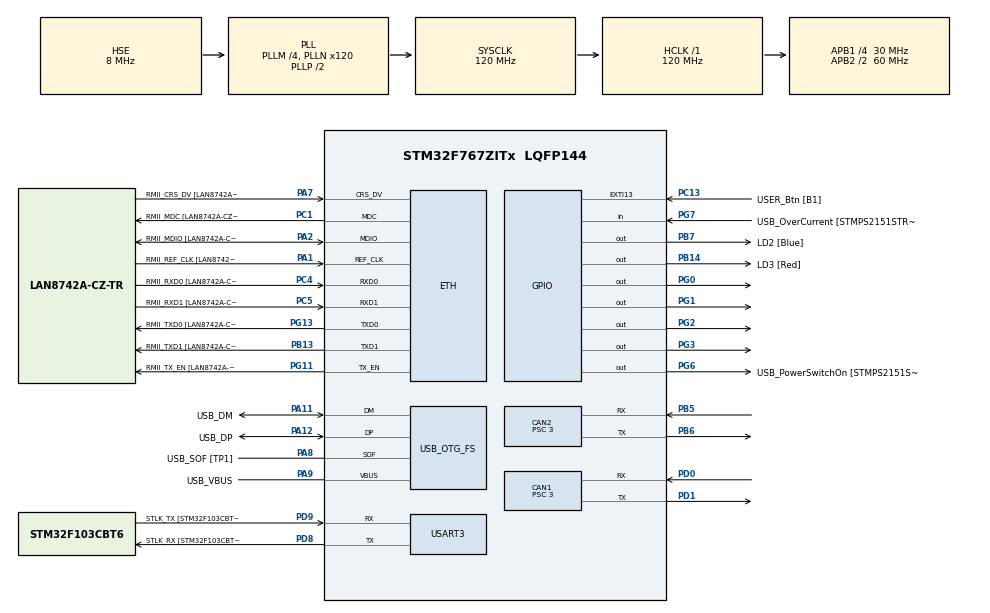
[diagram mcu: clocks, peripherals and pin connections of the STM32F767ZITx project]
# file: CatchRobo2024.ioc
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CAN1.BS1=CAN_BS1_7TQ
CAN1.BS2=CAN_BS2_2TQ
CAN1.CalculateBaudRate=1000000
CAN1.CalculateTimeBit=1000
CAN1.CalculateTimeQuantum=100.0
CAN1.Prescaler=3
CAN2.BS1=CAN_BS1_7TQ
CAN2.BS2=CAN_BS2_2TQ
CAN2.CalculateBaudRate=1000000
CAN2.CalculateTimeBit=1000
CAN2.CalculateTimeQuantum=100.0
CAN2.Prescaler=3
ETH.MediaInterface=HAL_ETH_RMII_MODE
FREERTOS.Tasks01=ETH,0,256,ReceiveETH,Default,NULL,Dynamic,NULL,NULL
FREERTOS.configMINIMAL_STACK_SIZE=256
FREERTOS.configUSE_NEWLIB_REENTRANT=1
LWIP.BSP.number=1
LWIP.CMSIS_VERSION-Enabled=1
LWIP.GATEWAY_ADDRESS=255.255.255.000
LWIP.IP_ADDRESS=192.168.000.111
LWIP.LWIP_DHCP=0
LWIP.NETMASK_ADDRESS=255.255.255.000
LWIP.Version=v2.1.2_Cube
LWIP0.BSP.STBoard=false
LWIP0.BSP.api=BSP_COMPONENT_DRIVER
LWIP0.BSP.component=LAN8742
LWIP0.BSP.instance=LAN8742
LWIP0.BSP.name=Driver_PHY
LWIP0.BSP.semaphore=S_LAN8742
LWIP0.BSP.solution=LAN8742
Mcu.Family=STM32F7
Mcu.Name=STM32F767ZITx
Mcu.Package=LQFP144
NVIC.CAN1_RX0_IRQn=true\:5\:0\:false\:false\:true\:true\:true\:true\:true
NVIC.CAN2_RX0_IRQn=true\:5\:0\:false\:false\:true\:true\:true\:true\:true
NVIC.ETH_IRQn=true\:5\:0\:false\:false\:true\:true\:false\:true\:true
NVIC.PriorityGroup=NVIC_PRIORITYGROUP_4
NVIC.TIM8_TRG_COM_TIM14_IRQn=true\:15\:0\:false\:false\:true\:false\:false\:true\:true
NVIC.TimeBase=TIM8_TRG_COM_TIM14_IRQn
NVIC.TimeBaseIP=TIM14
PA1.GPIO_Label=RMII_REF_CLK [LAN8742A-CZ-TR_REFCLK0]
PA1.Mode=RMII
PA1.Signal=ETH_REF_CLK
PA10.GPIO_Label=USB_ID
PA10.Signal=USB_OTG_FS_ID
PA11.GPIO_Label=USB_DM
PA11.Mode=Device_Only
PA11.Signal=USB_OTG_FS_DM
PA12.GPIO_Label=USB_DP
PA12.Mode=Device_Only
PA12.Signal=USB_OTG_FS_DP
PA13.GPIO_Label=TMS
PA13.Mode=Serial_Wire
PA13.Signal=SYS_JTMS-SWDIO
PA14.GPIO_Label=TCK
PA14.Mode=Serial_Wire
PA14.Signal=SYS_JTCK-SWCLK
PA2.GPIO_Label=RMII_MDIO [LAN8742A-CZ-TR_MDIO]
PA2.Mode=RMII
PA2.Signal=ETH_MDIO
PA7.GPIO_Label=RMII_CRS_DV [LAN8742A-CZ-TR_CRS_DV]
PA7.Mode=RMII
PA7.Signal=ETH_CRS_DV
PA8.GPIO_Label=USB_SOF [TP1]
PA8.Mode=Activate_SOF_FS
PA8.Signal=USB_OTG_FS_SOF
PA9.GPIO_Label=USB_VBUS
PA9.Mode=Activate_VBUS
PA9.Signal=USB_OTG_FS_VBUS
PB0.Signal=ETH_RXD2
PB13.GPIO_Label=RMII_TXD1 [LAN8742A-CZ-TR_TXD1]
PB13.Mode=RMII
PB13.Signal=ETH_TXD1
PB14.GPIO_Label=LD3 [Red]
PB14.Signal=GPIO_Output
PB3.GPIO_Label=SWO
PB3.Signal=SYS_JTDO-SWO
PB5.Mode=CAN_Activate
PB5.Signal=CAN2_RX
PB6.Mode=CAN_Activate
PB6.Signal=CAN2_TX
PB7.GPIO_Label=LD2 [Blue]
PB7.Signal=GPIO_Output
PC1.GPIO_Label=RMII_MDC [LAN8742A-CZ-TR_MDC]
PC1.Mode=RMII
PC1.Signal=ETH_MDC
PC13.GPIO_Label=USER_Btn [B1]
PC13.Signal=GPXTI13
PC14/OSC32_IN.Mode=LSE-External-Oscillator
PC14/OSC32_IN.Signal=RCC_OSC32_IN
PC15/OSC32_OUT.Mode=LSE-External-Oscillator
PC15/OSC32_OUT.Signal=RCC_OSC32_OUT
PC4.GPIO_Label=RMII_RXD0 [LAN8742A-CZ-TR_RXD0]
PC4.Mode=RMII
PC4.Signal=ETH_RXD0
PC5.GPIO_Label=RMII_RXD1 [LAN8742A-CZ-TR_RXD1]
PC5.Mode=RMII
PC5.Signal=ETH_RXD1
PD0.Mode=CAN_Activate
PD0.Signal=CAN1_RX
PD1.Mode=CAN_Activate
PD1.Signal=CAN1_TX
PD8.GPIO_Label=STLK_RX [STM32F103CBT6_PA3]
PD8.Mode=Asynchronous
PD8.Signal=USART3_TX
PD9.GPIO_Label=STLK_TX [STM32F103CBT6_PA2]
PD9.Mode=Asynchronous
PD9.Signal=USART3_RX
PG0.Signal=GPIO_Output
PG1.Signal=GPIO_Output
PG11.GPIO_Label=RMII_TX_EN [LAN8742A-CZ-TR_TXEN]
PG11.Mode=RMII
PG11.Signal=ETH_TX_EN
PG13.GPIO_Label=RMII_TXD0 [LAN8742A-CZ-TR_TXD0]
PG13.Mode=RMII
PG13.Signal=ETH_TXD0
PG2.Signal=GPIO_Output
PG3.Signal=GPIO_Output
PG6.GPIO_Label=USB_PowerSwitchOn [STMPS2151STR_EN]
PG6.Signal=GPIO_Output
PG7.GPIO_Label=USB_OverCurrent [STMPS2151STR_FAULT]
PG7.Signal=GPIO_Input
PH0/OSC_IN.GPIO_Label=MCO [STM32F103CBT6_PA8]
PH0/OSC_IN.Mode=HSE-External-Clock-Source
PH0/OSC_IN.Signal=RCC_OSC_IN
PH1/OSC_OUT.Mode=HSE-External-Clock-Source
PH1/OSC_OUT.Signal=RCC_OSC_OUT
ProjectManager.HeapSize=0x200
ProjectManager.StackSize=0x400
ProjectManager.TargetToolchain=CMake
RCC.48MHZClocksFreq_Value=24000000
RCC.AHBFreq_Value=120000000
RCC.APB1CLKDivider=RCC_HCLK_DIV4
RCC.APB1Freq_Value=30000000
RCC.APB1TimFreq_Value=60000000
RCC.APB2CLKDivider=RCC_HCLK_DIV2
RCC.APB2Freq_Value=60000000
RCC.APB2TimFreq_Value=120000000
RCC.CortexFreq_Value=120000000
RCC.HCLKFreq_Value=120000000
RCC.HSE_VALUE=8000000
RCC.HSI_VALUE=16000000
RCC.PLLM=4
RCC.PLLMUL=RCC_PLL_MUL9
RCC.PLLN=120
RCC.PLLQ=5
RCC.PRESCALERUSB=RCC_USBCLKSOURCE_PLL_DIV1_5
RCC.SYSCLKFreq_VALUE=120000000
RCC.SYSCLKSource=RCC_SYSCLKSOURCE_PLLCLK
RCC.SYSCLKSourceVirtual=RCC_SYSCLKSOURCE_PLLCLK
RCC.USBFreq_Value=48000000
RCC.VCOOutputFreq_Value=240000000
USART3.VirtualMode-Asynchronous=VM_ASYNC
USB_OTG_FS.VirtualMode=Device_Only
VP_FREERTOS_VS_CMSIS_V1.Mode=CMSIS_V1
VP_LWIP_VS_Enabled.Mode=Enabled
VP_SYS_VS_tim14.Mode=TIM14
board=NUCLEO-F767ZI

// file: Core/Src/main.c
/* USER CODE BEGIN Header */
/**
  ******************************************************************************
  * @file           : main.c
  * @brief          : Main program body
  ******************************************************************************
  * @attention
  *
  * Copyright (c) 2024 STMicroelectronics.
  * All rights reserved.
  *
  * This software is licensed under terms that can be found in the LICENSE file
  * in the root directory of this software component.
  * If no LICENSE file comes with this software, it is provided AS-IS.
  *
  ******************************************************************************
  */
/* USER CODE END Header */
#include "main.h"
#include "cmsis_os.h"
#include "lwip.h"

/* USER CODE BEGIN Includes */
#include "sockets.h"
/* USER CODE END Includes */

/* USER CODE BEGIN PD */

struct ETH_RxDataType {
    int16_t x_speed;
    int16_t y_speed;
    int16_t z_speed;
    uint8_t arm_state;
};

/* USER CODE END PD */

CAN_HandleTypeDef hcan1;
CAN_HandleTypeDef hcan2;

UART_HandleTypeDef huart3;

PCD_HandleTypeDef hpcd_USB_OTG_FS;

osThreadId ETHHandle;

void SystemClock_Config(void);
static void MX_GPIO_Init(void);
static void MX_USART3_UART_Init(void);
static void MX_USB_OTG_FS_PCD_Init(void);
static void MX_CAN1_Init(void);
static void MX_CAN2_Init(void);
void ReceiveETH(void const * argument);

/* USER CODE BEGIN 0 */

/* Ethernet variables */
#define F7_ADDR "192.168.000.111"
#define PC_ADDR "192.168.000.010"
#define F7_PORT 11111
#define PC_PORT 11111
struct ETH_RxDataType rx_buf = {0, 0, 0, 0};
int socket;
struct sockaddr_in rxAddr;

/* CAN1 variables */
CAN_TxHeaderTypeDef TxHeader1;
uint32_t TxMailbox1;
uint8_t CAN1_TxData[8];

CAN_FilterTypeDef filter;
uint8_t RxData[8];

int16_t rx_arg, rx_speed, rx_current;
int count = 0;

/* CAN2 variables */

CAN_TxHeaderTypeDef TxHeader2;
uint32_t TxMailbox2;
uint8_t CAN2_TxData[3];

int free_level = 0;

/* USER CODE END 0 */

int main(void)
{

  /* MCU Configuration--------------------------------------------------------*/

  /* Reset of all peripherals, Initializes the Flash interface and the Systick. */
  HAL_Init();

  /* Configure the system clock */
  SystemClock_Config();

  /* Initialize all configured peripherals */
  MX_GPIO_Init();
  MX_USART3_UART_Init();
  MX_USB_OTG_FS_PCD_Init();
  MX_CAN1_Init();
  MX_CAN2_Init();
  /* USER CODE BEGIN 2 */

  /* CAN1_Tx Init */
  free_level = HAL_CAN_Start(&hcan2);
  free_level = hcan2.ErrorCode;
  HAL_CAN_Start(&hcan1);

  TxHeader1.StdId = 0x200;
  TxHeader1.RTR = CAN_RTR_DATA;
  TxHeader1.IDE = CAN_ID_STD;
  TxHeader1.DLC = 8;
  TxHeader1.TransmitGlobalTime = DISABLE;

  CAN1_TxData[0] = 0;
  CAN1_TxData[1] = 0;
  CAN1_TxData[2] = 0;
  CAN1_TxData[3] = 0;
  CAN1_TxData[4] = 0;
  CAN1_TxData[5] = 0;
  CAN1_TxData[6] = 0;
  CAN1_TxData[7] = 0;

  /* CAN2_Tx Init */

  TxHeader2.StdId = 0x100;
  TxHeader2.RTR = CAN_RTR_DATA;
  TxHeader2.IDE = CAN_ID_STD;
  TxHeader2.DLC = 3;
  TxHeader2.TransmitGlobalTime = DISABLE;

  CAN2_TxData[0] = 0;
  CAN2_TxData[1] = 0;
  CAN2_TxData[2] = 0;

  /* CAN1_Rx Init */

  // filter.FilterIdHigh = 0;
  // filter.FilterIdLow = 0;
  // filter.FilterMaskIdHigh = 0;
  // filter.FilterMaskIdLow = 0;
  // filter.FilterScale = CAN_FILTERSCALE_32BIT;
  // filter.FilterFIFOAssignment = CAN_FILTER_FIFO0;
  // filter.FilterBank = 0;
  // filter.FilterMode = CAN_FILTERMODE_IDMASK;
  // filter.SlaveStartFilterBank = 14;
  // filter.FilterActivation = ENABLE;

  // HAL_CAN_ConfigFilter(&hcan1, &filter);
  // HAL_CAN_ActivateNotification(&hcan1, CAN_IT_RX_FIFO0_MSG_PENDING);

  /* CAN2_Rx Init */

  // filter.FilterIdHigh = 0;
  // filter.FilterIdLow = 0;
  // filter.FilterMaskIdHigh = 0;
  // filter.FilterMaskIdLow = 0;
  // filter.FilterScale = CAN_FILTERSCALE_32BIT;
  // filter.FilterFIFOAssignment = CAN_FILTER_FIFO1;
  // filter.FilterBank = 14;
  // filter.FilterMode = CAN_FILTERMODE_IDMASK;
  // filter.SlaveStartFilterBank = 14;
  // filter.FilterActivation = ENABLE;

  // HAL_CAN_ConfigFilter(&hcan2, &filter);
  // HAL_CAN_ActivateNotification(&hcan2, CAN_IT_RX_FIFO1_MSG_PENDING);

  /* USER CODE END 2 */

  /* Create the thread(s) */
  /* definition and creation of ETH */
  osThreadDef(ETH, ReceiveETH, osPriorityNormal, 0, 256);
  ETHHandle = osThreadCreate(osThread(ETH), NULL);

  /* Start scheduler */
  osKernelStart();

  /* We should never get here as control is now taken by the scheduler */

  /* Infinite loop */
  while (1)
  {

  }
}

void SystemClock_Config(void)
{
  RCC_OscInitTypeDef RCC_OscInitStruct = {0};
  RCC_ClkInitTypeDef RCC_ClkInitStruct = {0};

  /** Configure LSE Drive Capability
  */
  HAL_PWR_EnableBkUpAccess();

  /** Configure the main internal regulator output voltage
  */
  __HAL_RCC_PWR_CLK_ENABLE();
  __HAL_PWR_VOLTAGESCALING_CONFIG(PWR_REGULATOR_VOLTAGE_SCALE3);

  /** Initializes the RCC Oscillators according to the specified parameters
  * in the RCC_OscInitTypeDef structure.
  */
  RCC_OscInitStruct.OscillatorType = RCC_OSCILLATORTYPE_HSE;
  RCC_OscInitStruct.HSEState = RCC_HSE_BYPASS;
  RCC_OscInitStruct.PLL.PLLState = RCC_PLL_ON;
  RCC_OscInitStruct.PLL.PLLSource = RCC_PLLSOURCE_HSE;
  RCC_OscInitStruct.PLL.PLLM = 4;
  RCC_OscInitStruct.PLL.PLLN = 120;
  RCC_OscInitStruct.PLL.PLLP = RCC_PLLP_DIV2;
  RCC_OscInitStruct.PLL.PLLQ = 5;
  RCC_OscInitStruct.PLL.PLLR = 2;
  if (HAL_RCC_OscConfig(&RCC_OscInitStruct) != HAL_OK)
  {
    Error_Handler();
  }

  /** Initializes the CPU, AHB and APB buses clocks
  */
  RCC_ClkInitStruct.ClockType = RCC_CLOCKTYPE_HCLK|RCC_CLOCKTYPE_SYSCLK
                              |RCC_CLOCKTYPE_PCLK1|RCC_CLOCKTYPE_PCLK2;
  RCC_ClkInitStruct.SYSCLKSource = RCC_SYSCLKSOURCE_PLLCLK;
  RCC_ClkInitStruct.AHBCLKDivider = RCC_SYSCLK_DIV1;
  RCC_ClkInitStruct.APB1CLKDivider = RCC_HCLK_DIV4;
  RCC_ClkInitStruct.APB2CLKDivider = RCC_HCLK_DIV2;

  if (HAL_RCC_ClockConfig(&RCC_ClkInitStruct, FLASH_LATENCY_3) != HAL_OK)
  {
    Error_Handler();
  }
}

static void MX_CAN1_Init(void)
{

  hcan1.Instance = CAN1;
  hcan1.Init.Prescaler = 3;
  hcan1.Init.Mode = CAN_MODE_NORMAL;
  hcan1.Init.SyncJumpWidth = CAN_SJW_1TQ;
  hcan1.Init.TimeSeg1 = CAN_BS1_7TQ;
  hcan1.Init.TimeSeg2 = CAN_BS2_2TQ;
  hcan1.Init.TimeTriggeredMode = DISABLE;
  hcan1.Init.AutoBusOff = DISABLE;
  hcan1.Init.AutoWakeUp = DISABLE;
  hcan1.Init.AutoRetransmission = DISABLE;
  hcan1.Init.ReceiveFifoLocked = DISABLE;
  hcan1.Init.TransmitFifoPriority = DISABLE;
  if (HAL_CAN_Init(&hcan1) != HAL_OK)
  {
    Error_Handler();
  }

}

static void MX_CAN2_Init(void)
{

  hcan2.Instance = CAN2;
  hcan2.Init.Prescaler = 3;
  hcan2.Init.Mode = CAN_MODE_NORMAL;
  hcan2.Init.SyncJumpWidth = CAN_SJW_1TQ;
  hcan2.Init.TimeSeg1 = CAN_BS1_7TQ;
  hcan2.Init.TimeSeg2 = CAN_BS2_2TQ;
  hcan2.Init.TimeTriggeredMode = DISABLE;
  hcan2.Init.AutoBusOff = DISABLE;
  hcan2.Init.AutoWakeUp = DISABLE;
  hcan2.Init.AutoRetransmission = DISABLE;
  hcan2.Init.ReceiveFifoLocked = DISABLE;
  hcan2.Init.TransmitFifoPriority = DISABLE;
  if (HAL_CAN_Init(&hcan2) != HAL_OK)
  {
    Error_Handler();
  }

}

static void MX_USART3_UART_Init(void)
{

  huart3.Instance = USART3;
  huart3.Init.BaudRate = 115200;
  huart3.Init.WordLength = UART_WORDLENGTH_8B;
  huart3.Init.StopBits = UART_STOPBITS_1;
  huart3.Init.Parity = UART_PARITY_NONE;
  huart3.Init.Mode = UART_MODE_TX_RX;
  huart3.Init.HwFlowCtl = UART_HWCONTROL_NONE;
  huart3.Init.OverSampling = UART_OVERSAMPLING_16;
  huart3.Init.OneBitSampling = UART_ONE_BIT_SAMPLE_DISABLE;
  huart3.AdvancedInit.AdvFeatureInit = UART_ADVFEATURE_NO_INIT;
  if (HAL_UART_Init(&huart3) != HAL_OK)
  {
    Error_Handler();
  }

}

static void MX_USB_OTG_FS_PCD_Init(void)
{

  hpcd_USB_OTG_FS.Instance = USB_OTG_FS;
  hpcd_USB_OTG_FS.Init.dev_endpoints = 6;
  hpcd_USB_OTG_FS.Init.speed = PCD_SPEED_FULL;
  hpcd_USB_OTG_FS.Init.dma_enable = DISABLE;
  hpcd_USB_OTG_FS.Init.phy_itface = PCD_PHY_EMBEDDED;
  hpcd_USB_OTG_FS.Init.Sof_enable = ENABLE;
  hpcd_USB_OTG_FS.Init.low_power_enable = DISABLE;
  hpcd_USB_OTG_FS.Init.lpm_enable = DISABLE;
  hpcd_USB_OTG_FS.Init.vbus_sensing_enable = ENABLE;
  hpcd_USB_OTG_FS.Init.use_dedicated_ep1 = DISABLE;
  if (HAL_PCD_Init(&hpcd_USB_OTG_FS) != HAL_OK)
  {
    Error_Handler();
  }

}

static void MX_GPIO_Init(void)
{
  GPIO_InitTypeDef GPIO_InitStruct = {0};

  /* GPIO Ports Clock Enable */
  __HAL_RCC_GPIOC_CLK_ENABLE();
  __HAL_RCC_GPIOH_CLK_ENABLE();
  __HAL_RCC_GPIOA_CLK_ENABLE();
  __HAL_RCC_GPIOB_CLK_ENABLE();
  __HAL_RCC_GPIOG_CLK_ENABLE();
  __HAL_RCC_GPIOD_CLK_ENABLE();

  /*Configure GPIO pin Output Level */
  HAL_GPIO_WritePin(GPIOG, GPIO_PIN_0|GPIO_PIN_1|GPIO_PIN_2|GPIO_PIN_3
                          |USB_PowerSwitchOn_Pin, GPIO_PIN_RESET);

  /*Configure GPIO pin Output Level */
  HAL_GPIO_WritePin(GPIOB, LD3_Pin|LD2_Pin, GPIO_PIN_RESET);

  /*Configure GPIO pin : USER_Btn_Pin */
  GPIO_InitStruct.Pin = USER_Btn_Pin;
  GPIO_InitStruct.Mode = GPIO_MODE_IT_RISING;
  GPIO_InitStruct.Pull = GPIO_NOPULL;
  HAL_GPIO_Init(USER_Btn_GPIO_Port, &GPIO_InitStruct);

  /*Configure GPIO pins : PG0 PG1 PG2 PG3
                           USB_PowerSwitchOn_Pin */
  GPIO_InitStruct.Pin = GPIO_PIN_0|GPIO_PIN_1|GPIO_PIN_2|GPIO_PIN_3
                          |USB_PowerSwitchOn_Pin;
  GPIO_InitStruct.Mode = GPIO_MODE_OUTPUT_PP;
  GPIO_InitStruct.Pull = GPIO_NOPULL;
  GPIO_InitStruct.Speed = GPIO_SPEED_FREQ_LOW;
  HAL_GPIO_Init(GPIOG, &GPIO_InitStruct);

  /*Configure GPIO pins : LD3_Pin LD2_Pin */
  GPIO_InitStruct.Pin = LD3_Pin|LD2_Pin;
  GPIO_InitStruct.Mode = GPIO_MODE_OUTPUT_PP;
  GPIO_InitStruct.Pull = GPIO_NOPULL;
  GPIO_InitStruct.Speed = GPIO_SPEED_FREQ_LOW;
  HAL_GPIO_Init(GPIOB, &GPIO_InitStruct);

  /*Configure GPIO pin : USB_OverCurrent_Pin */
  GPIO_InitStruct.Pin = USB_OverCurrent_Pin;
  GPIO_InitStruct.Mode = GPIO_MODE_INPUT;
  GPIO_InitStruct.Pull = GPIO_NOPULL;
  HAL_GPIO_Init(USB_OverCurrent_GPIO_Port, &GPIO_InitStruct);

}

void ReceiveETH(void const * argument)
{
  /* init code for LWIP */
  MX_LWIP_Init();
  /* USER CODE BEGIN 5 */
  //CAN_RxHeaderTypeDef RxHeader;

  socket = lwip_socket(AF_INET, SOCK_DGRAM, 0);

  memset((char*)&rxAddr, 0, sizeof(rxAddr));

  rxAddr.sin_family = AF_INET;
  rxAddr.sin_len = sizeof(rxAddr);
  rxAddr.sin_addr.s_addr = INADDR_ANY;
  rxAddr.sin_port = htons(F7_PORT);

  lwip_bind(socket, (struct sockaddr *)&rxAddr, sizeof(rxAddr));

  socklen_t len = sizeof(rxAddr);

  //lwip_ioctl(socket, FIONBIO, &flag);

  lwip_recvfrom(socket, (uint8_t*)&rx_buf, sizeof(rx_buf), (int)NULL, (struct sockaddr *)&rxAddr, &len);
  HAL_GPIO_WritePin(GPIOG, GPIO_PIN_0, 1);

  /* Infinite loop */
  for(;;)
  {
    // [ CAN TX ]
    lwip_recvfrom(socket, (uint8_t*)&rx_buf, sizeof(rx_buf), (int)NULL, (struct sockaddr *)&rxAddr, &len);

    //free_level = HAL_CAN_GetState(&hcan2);
    if (HAL_CAN_GetTxMailboxesFreeLevel(&hcan2) > 0) {
      CAN2_TxData[0] = rx_buf.arm_state;
      CAN2_TxData[1] = (rx_buf.z_speed >> 8) & 0xff;
      CAN2_TxData[2] = (rx_buf.z_speed) & 0xff;

      HAL_CAN_AddTxMessage(&hcan2, &TxHeader2, CAN2_TxData, &TxMailbox2);
      HAL_GPIO_TogglePin(GPIOB, GPIO_PIN_14);
    }

    // free_level = HAL_CAN_GetTxMailboxesFreeLevel(&hcan1);
    if (HAL_CAN_GetTxMailboxesFreeLevel(&hcan1) > 0) {
      CAN1_TxData[0] = (rx_buf.x_speed >> 8) & 0xff;
      CAN1_TxData[1] = rx_buf.x_speed & 0xff;
      CAN1_TxData[2] = (rx_buf.y_speed >> 8) & 0xff;
      CAN1_TxData[3] = rx_buf.y_speed & 0xff;

      HAL_CAN_AddTxMessage(&hcan1, &TxHeader1, CAN1_TxData, &TxMailbox1);
      HAL_GPIO_TogglePin(GPIOB, GPIO_PIN_7);
    }

    osDelay(50);

  }
  /* USER CODE END 5 */
}

void HAL_TIM_PeriodElapsedCallback(TIM_HandleTypeDef *htim)
{
  if (htim->Instance == TIM14) {
    HAL_IncTick();
  }
}

void Error_Handler(void)
{
  __disable_irq();
  while (1)
  {
  }
}
